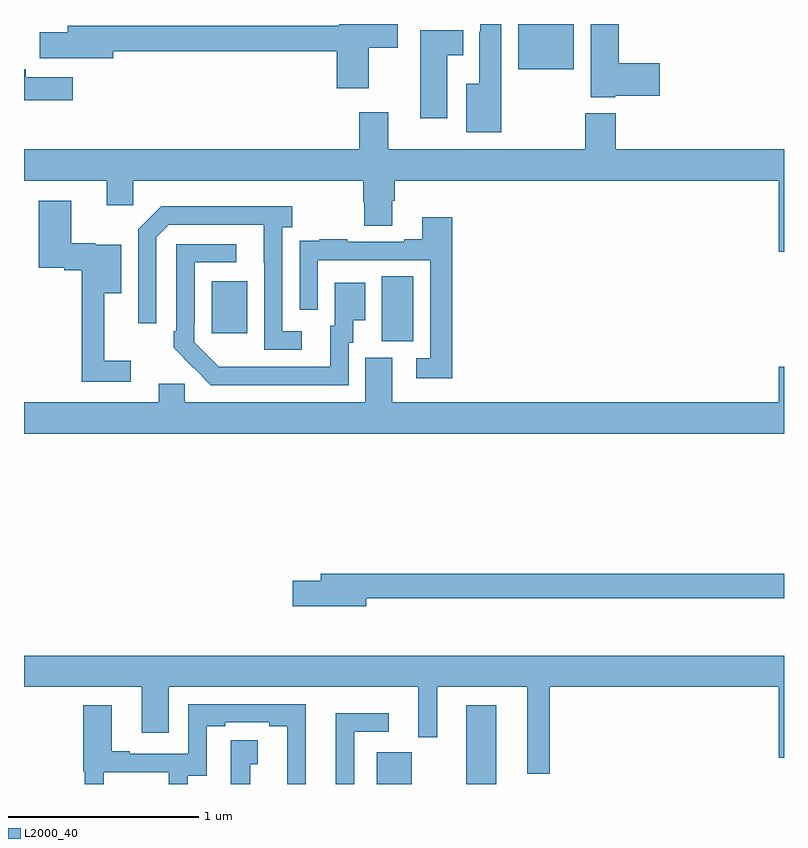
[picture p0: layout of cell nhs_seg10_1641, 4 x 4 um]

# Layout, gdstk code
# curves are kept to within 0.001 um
import gdstk
lib = gdstk.Library(unit=1e-6, precision=1e-09)
def R(c, l, rs):  # rectangles x0, y0, x1, y1
    for r in rs: c.add(gdstk.rectangle(r[:2], r[2:], *l))
def P(c, l, *ps):  # polygons
    for p in ps: c.add(gdstk.Polygon(p, *l))
L2000_40 = (2000, 40)

nhs_seg10_1641 = lib.new_cell('nhs_seg10_1641')
R(nhs_seg10_1641, L2000_40, [(198.857,1270.5,199.042,1270.666), (199.328,1270.5,199.486,1270.915), (198.884,1272.829,199.048,1273.172), (197.987,1272.873,198.175,1273.147), (199.601,1274.261,199.894,1274.5)])
P(nhs_seg10_1641, L2000_40, [(199.513,1274.5),(199.401,1274.5),(199.401,1274.459),(199.397,1274.459),(199.397,1274.185),(199.328,1274.185),(199.328,1273.931),(199.513,1273.931)],
  [(200.112,1274.123),(200.347,1274.123),(200.347,1274.294),(200.129,1274.294),(200.129,1274.5),(199.982,1274.5),(199.982,1274.114),(200.112,1274.114)],
  [(198.814,1274.374),(198.967,1274.374),(198.967,1274.5),(198.659,1274.5),(198.659,1274.492),(197.231,1274.492),(197.231,1274.456),(197.082,1274.456),(197.082,1274.321),(197.47,1274.321),(197.47,1274.356),(198.647,1274.356),(198.647,1274.163),(198.814,1274.163)],
  [(199.228,1274.336),(199.312,1274.336),(199.312,1274.467),(199.085,1274.467),(199.085,1274.004),(199.228,1274.004)],
  [(197.257,1274.221),(197.008,1274.221),(197.008,1274.263),(197,1274.263),(197,1274.099),(197.257,1274.099)],
  [(200.972,1273.302),(201,1273.302),(201,1273.84),(200.114,1273.84),(200.114,1274.029),(199.954,1274.029),(199.954,1273.84),(198.916,1273.84),(198.916,1274.035),(198.764,1274.035),(198.764,1273.84),(197,1273.84),(197,1273.676),(197.435,1273.676),(197.435,1273.545),(197.574,1273.545),(197.574,1273.676),(198.785,1273.676),(198.785,1273.563),(198.79,1273.563),(198.79,1273.438),(198.937,1273.438),(198.937,1273.57),(198.95,1273.57),(198.95,1273.676),(200.972,1273.676)],
  [(197.563,1272.727),(197.423,1272.727),(197.423,1273.082),(197.512,1273.082),(197.512,1273.339),(197.376,1273.339),(197.376,1273.347),(197.248,1273.347),(197.248,1273.57),(197.078,1273.57),(197.078,1273.217),(197.211,1273.217),(197.211,1273.205),(197.305,1273.205),(197.305,1272.618),(197.563,1272.618)],
  [(198.463,1272.882),(198.36,1272.882),(198.36,1273.43),(198.412,1273.43),(198.412,1273.54),(197.722,1273.54),(197.601,1273.419),(197.601,1272.924),(197.697,1272.924),(197.697,1273.377),(197.763,1273.443),(198.263,1273.443),(198.264,1272.786),(198.463,1272.786)],
  [(199.253,1273.483),(199.097,1273.483),(199.097,1273.366),(199.001,1273.366),(199.001,1273.353),(198.701,1273.353),(198.701,1273.366),(198.553,1273.366),(198.553,1273.359),(198.451,1273.359),(198.451,1273.25),(198.45,1273.25),(198.45,1272.996),(198.546,1272.996),(198.546,1273.257),(199.137,1273.257),(199.137,1272.741),(199.065,1272.741),(199.065,1272.636),(199.253,1272.636)],
  [(198.708,1272.822),(198.733,1272.822),(198.733,1272.941),(198.796,1272.941),(198.796,1273.138),(198.635,1273.138),(198.635,1272.912),(198.611,1272.912),(198.611,1272.696),(198.024,1272.697),(197.895,1272.825),(197.895,1272.925),(197.898,1272.925),(197.898,1273.245),(198.118,1273.245),(198.118,1273.341),(197.802,1273.341),(197.802,1272.883),(197.787,1272.883),(197.787,1272.795),(197.984,1272.6),(198.708,1272.6)],
  [(201,1272.697),(200.972,1272.697),(200.972,1272.508),(198.937,1272.508),(198.937,1272.744),(198.797,1272.744),(198.797,1272.508),(197.847,1272.508),(197.847,1272.606),(197.708,1272.606),(197.708,1272.508),(197,1272.508),(197,1272.344),(201,1272.344)],
  [(198.802,1271.478),(201,1271.478),(201,1271.606),(198.563,1271.606),(198.563,1271.57),(198.414,1271.57),(198.414,1271.435),(198.802,1271.435)],
  [(199.766,1271.012),(200.972,1271.012),(200.972,1270.638),(201,1270.638),(201,1271.176),(197,1271.176),(197,1271.012),(197.621,1271.012),(197.621,1270.77),(197.761,1270.77),(197.761,1271.012),(199.076,1271.012),(199.076,1270.746),(199.174,1270.746),(199.174,1271.012),(199.649,1271.012),(199.649,1270.554),(199.766,1270.554)],
  [(197.421,1270.563),(197.763,1270.563),(197.763,1270.5),(197.862,1270.5),(197.862,1270.543),(197.961,1270.543),(197.961,1270.804),(198.058,1270.804),(198.058,1270.824),(198.29,1270.824),(198.29,1270.804),(198.386,1270.804),(198.386,1270.5),(198.484,1270.5),(198.484,1270.92),(197.865,1270.92),(197.865,1270.659),(197.557,1270.659),(197.557,1270.672),(197.461,1270.672),(197.461,1270.915),(197.312,1270.915),(197.312,1270.566),(197.32,1270.566),(197.32,1270.5),(197.421,1270.5)],
  [(198.738,1270.776),(198.919,1270.776),(198.919,1270.873),(198.641,1270.873),(198.641,1270.5),(198.738,1270.5)],
  [(198.19,1270.604),(198.229,1270.604),(198.229,1270.729),(198.089,1270.729),(198.089,1270.5),(198.19,1270.5)])

lib.write_gds('nhs_seg10_1641.gds')
